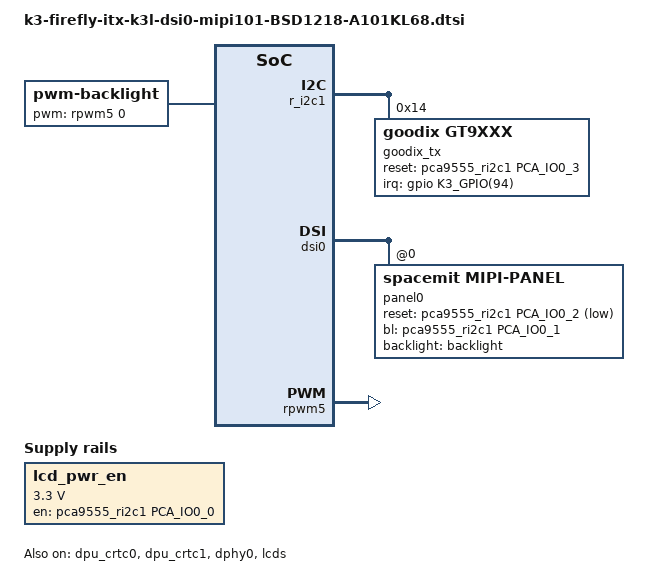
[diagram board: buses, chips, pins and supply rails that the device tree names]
// SPDX-License-Identifier: (GPL-2.0+ OR MIT)
/*
 * Copyright (c) 2020 Rockchip Electronics Co., Ltd.
 */

#include "lcd/lcd_mipi101_BSD1218_A101KL68.dtsi"

/ {
	backlight: backlight {
		status = "okay";
		compatible = "pwm-backlight";
		pwms = <&rpwm5 0 50000 0>;
		brightness-levels = <
			255 254 253 252 251 250 249 248
			247 246 245 244 243 242 241 240
			239 238 237 236 235 234 233 232
			231 230 229 228 227 226 225 224
			223 222 221 220 219 218 217 216
			215 214 213 212 211 210 209 208
			207 206 205 204 203 202 201 200
			199 198 197 196 195 194 193 192
			191 190 189 188 187 186 185 184
			183 182 181 180 179 178 177 176
			175 174 173 172 171 170 169 168
			167 166 165 164 163 162 161 160
			159 158 157 156 155 154 153 152
			151 150 149 148 147 146 145 144
			143 142 141 140 139 138 137 136
			135 134 133 132 131 130 129 128
			127 126 125 124 123 122 121 120
			119 118 117 116 115 114 113 112
			111 110 109 108 107 106 105 104
			103 102 101 100  99  98  97  96
			 95  94  93  92  91  90  89  88
			 87  86  85  84  83  82  81  80
			 79  78  77  76  75  74  73  72
			 71  70  69  68  67  66  65  64
			 63  62  61  60  59  58  57  56
			 55  54  53  52  51  50  49  48
			 47  46  45  44  43  42  41  40
			 39  38  37  36  35  34  33  32
			 31  30  29  28  27  26  25  24
			 23  22  21  20  19  18  17  16
			 15  14  13  12  11  10   9   8
			  7   6   5   4   3   2   1   0>;
		default-brightness-level = <50>;
	};

	lcd_pwr_en: lcd-pwr-en {
		compatible = "regulator-fixed";
		regulator-name = "lcd_pwr_en";
		regulator-min-microvolt = <3300000>;
		regulator-max-microvolt = <3300000>;
		regulator-always-on;
		regulator-boot-on;
		enable-active-high;
		gpios = <&pca9555_ri2c1 PCA_IO0_0 GPIO_ACTIVE_HIGH>;
		status = "okay";
	};
};

&r_i2c1 {
	status = "okay";
	pinctrl-names = "default";
	pinctrl-0 = <&ri2c1_1_cfg>;

	goodix_tx: goodix-ts@14 {
		status = "okay";
		compatible = "goodix,gt9xxx";
		reg = <0x14>;
		interrupt-parent = <&gpio>;
		interrupts = <K3_GPIO(94) IRQ_TYPE_EDGE_FALLING>;
                reset-gpios = <&pca9555_ri2c1 PCA_IO0_3 GPIO_ACTIVE_HIGH>;
                irq-gpios = <&gpio K3_GPIO(94) IRQ_TYPE_EDGE_FALLING>;
		irq-flags = <2>; /* 1 rising, 2 falling */
		touchscreen-size-x = <800>;
		touchscreen-size-y = <1280>;
		goodix,slide-wakeup = <0>;
		goodix,type-a-report = <0>;
		goodix,driver-send-cfg = <1>;
		goodix,resume-in-workqueue = <0>;
		goodix,int-sync = <1>;
		//goodix,swap-x2y = <0>;
		goodix,esd-protect = <1>;
		goodix,auto-update-cfg = <0>;
		goodix,auto-update = <0>;
		goodix,power-off-sleep = <0>;
		goodix,pen-suppress-finger = <0>;

                goodix,cfg-group2 = [
                        62 20 03 00 05 0A 35 00 01
                        0A 28 0F 50 3C 03 05 00 00
                        00 00 00 00 06 18 1A 1E 14
                        90 30 AA 37 39 12 0C 00 00
                        00 1A 02 2D 00 00 00 00 00
                        00 00 00 07 00 00 28 4B 94
                        D5 02 07 00 00 04 9A 2A 00
                        8C 30 00 81 36 00 76 3E 00
                        6E 46 00 6E 00 00 00 00 00
                        00 00 00 00 00 00 00 00 00
                        00 00 00 00 00 00 00 00 00
                        00 00 00 00 00 02 00 00 00
                        00 00 00 00 19 18 17 16 15
                        14 11 10 0F 0E 0D 0C 09 08
                        07 06 05 04 01 00 00 00 00
                        00 00 00 00 00 00 00 14 13
                        12 11 10 0F 0E 0D 0C 0A 08
                        07 06 04 02 00 19 1B 1C 1E
                        1F 20 21 22 23 24 25 26 27
                        28 29 2A 00 00 00 00 00 00
                        00 00 00 00 D8 01];
	};
};

&dsi0 {
	status = "okay";

	panel0: panel0@0 {
		compatible = "spacemit,mipi-panel";
		reg = <0>;
		backlight = <&backlight>;
		reset-gpios = <&pca9555_ri2c1 PCA_IO0_2 GPIO_ACTIVE_LOW>;  // panel reset gpio
		bl-gpios = <&pca9555_ri2c1 PCA_IO0_1 GPIO_ACTIVE_HIGH>;     // panel backlight ctrl gpio
		id = <2>;
		force-attached = "lcd_mipi101_BSD1218_A101KL68";
		status = "okay";
	};
};

&rpwm5 {
	pinctrl-names = "default";
	pinctrl-0 = <&rpwm5_2_cfg>;
	status = "okay";
};

&dpu_crtc0 {
	memory-region = <&dpu_resv0>;
	spacemit-dpu-bitclk = <550000000>;
	status = "okay";
};

&dpu_crtc1 {
	memory-region = <&dpu_resv1>;
	spacemit-dpu-bitclk = <550000000>;
	status = "okay";
};

&dphy0 {
	status = "okay";
};

&lcds {
	status = "okay";
};

&pinctrl {
	rpwm5-2-cfg {
		rpwm5-0-pins {
			power-source = <3300>;
		};
	};
};
